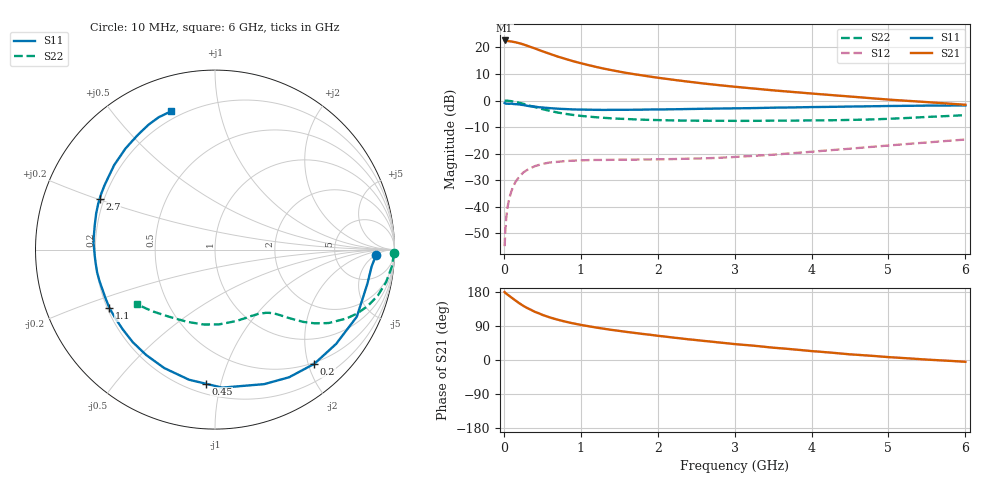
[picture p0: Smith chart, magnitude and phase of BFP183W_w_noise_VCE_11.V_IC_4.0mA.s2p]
! Infineon Technologies  Discrete & RF Semiconductors
! BFP183W
! VCE =  11. V,  IC =  4.0 mA
! Common Emitter S-Parameters:  Jan 2017
# GHz  S  MA  R  50
!  f  S11  S21  S12  S22
! GHz  MAG  ANG  MAG  ANG  MAG  ANG  MAG  ANG
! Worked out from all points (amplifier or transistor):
!   77 points, 10 MHz to 6 GHz, reference 50 ohm
!   highest |S21| = 22.6 dB at 10 MHz (marker M1)
!   |S21| within 3 dB of that: start of sweep to 403.4 MHz
!   unconditionally stable (mu >= 1): 2.424 GHz to 4.353 GHz
!   at 130 MHz: K = 0.08, MSG = 27.0 dB, |S12| = -31.9 dB
!   at 2.2 GHz: K = 0.95, MSG = 14.9 dB, |S12| = -22.1 dB
!   at 6 GHz: K = 0.78, MSG = 6.6 dB, |S12| = -14.7 dB
!   lowest NFmin = 0.73 dB at 450 MHz
!   S11 on the Smith chart (normalised r, x): 10 MHz: 17, -5; 200 MHz: 0.48, -2.11; 450 MHz: 0.26, -0.90; 1.1 GHz: 0.21, -0.25; 2.7 GHz: 0.18, +0.20; 6 GHz: 0.16, +0.72
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0.01  0.8986 -1.8  13.54 179.3  0.0018 86.5  0.9977 -1.1
0.02  0.8772 -6.3  13.38 176.9  0.0037 85.7  0.9953 -2.2
0.04  0.8713 -10.5  13.28 173.8  0.008 81.4  0.9913 -4.4
0.1  0.8742 -25.3  12.96 164.6  0.0198 76.0  0.9708 -10.7
0.15  0.8553 -37.9  12.54 157.2  0.029 69.4  0.9425 -15.8
0.2  0.8433 -49.0  12.02 149.9  0.0366 64.7  0.9077 -20.2
0.25  0.8223 -59.9  11.46 143.3  0.0437 59.2  0.8696 -24.1
0.3  0.7981 -69.9  10.81 137.5  0.0489 54.3  0.8289 -27.5
0.4  0.7701 -87.0  9.628 127.4  0.0577 47.0  0.7535 -32.9
0.45  0.7488 -94.0  9.034 123.6  0.0607 43.8  0.7207 -34.7
0.5  0.7393 -101.3  8.486 119.2  0.0638 40.9  0.6887 -36.6
0.6  0.718 -113.2  7.553 112.2  0.068 36.2  0.6359 -39.3
0.7  0.7013 -123.2  6.735 106.3  0.0699 33.4  0.5935 -41.2
0.9  0.6794 -139.2  5.513 96.7  0.0736 28.9  0.5347 -44.1
1.1  0.6721 -151.1  4.645 89.2  0.0754 26.5  0.4977 -46.3
1.6  0.6689 -172.8  3.299 74.0  0.0767 25.0  0.448 -52.1
2.1  0.6806 171.2  2.574 61.7  0.0783 27.8  0.4245 -59.7
2.7  0.7023 156.1  2.016 48.4  0.0823 33.4  0.4152 -70.8
3.1  0.7149 147.7  1.762 40.3  0.088 37.2  0.4133 -78.8
4.1  0.7548 130.0  1.32 22.0  0.1113 44.4  0.4223 -101.2
5.1  0.7905 117.0  1.018 6.4  0.1458 45.9  0.4585 -126.5
6  0.8082 107.8  0.832 -4.8  0.184 42.6  0.5307 -145.0
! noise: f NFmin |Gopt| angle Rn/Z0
0.45  0.73  0.32  50  0.29
0.9  0.9  0.29  94  0.14
1.9  1.5  0.43  165  0.08
2.4  1.78  0.48  179  0.08
